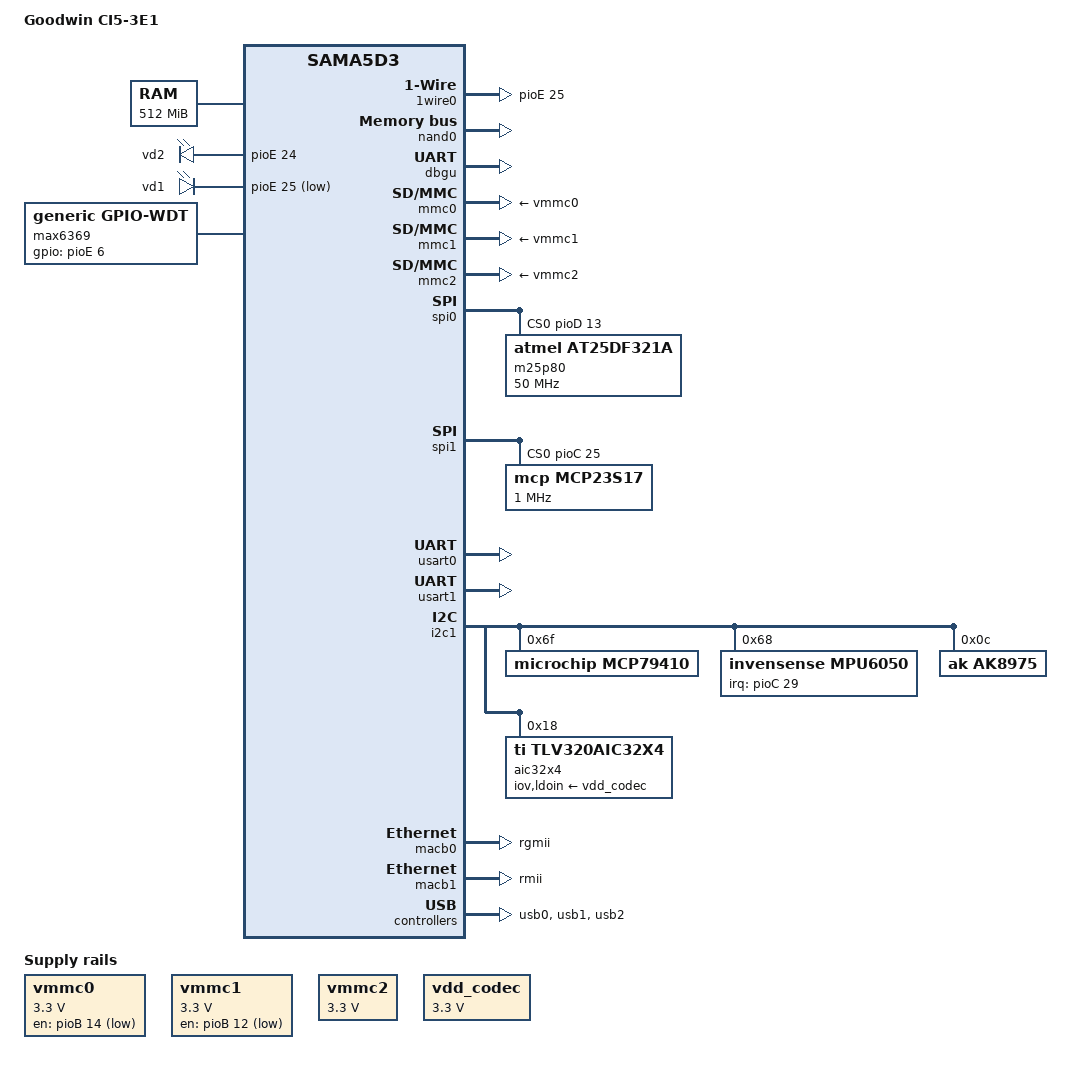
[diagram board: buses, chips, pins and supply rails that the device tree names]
/*
 * goodwin-ci5-3e1.dts - Device Tree file for Goodwin CI5-3E1 board
 *
 *  Copyright (C) 2013 Atmel,
 *                2013 Ludovic Desroches <ludovic.desroches@atmel.com>
 *
 * Licensed under GPLv2 or later.
 */
/dts-v1/;
#include "sama5d35.dtsi"

/ {
	model = "Goodwin CI5-3E1";
	compatible = "atmel,sama5d35ek", "atmel,sama5d3xmb", "atmel,sama5d3xcm", "atmel,sama5d3", "atmel,sama5";

	memory {
		reg = <0x20000000 0x20000000>;
	};

	slow_xtal {
		clock-frequency = <32768>;
	};

	main_xtal {
		clock-frequency = <12000000>;
	};

	leds {
		compatible = "gpio-leds";

		pe24 {
			label = "vd2";
			gpios = <&pioE 24 0>;
		};

		pe25 {
			label = "vd1"; /* conflicts with 1wire */
			gpios = <&pioE 25 1>;
			linux,default-trigger = "heartbeat";
		};

	};

	max6369 {
		/* WDT can be disabled by setting switch 1:4 to off */
		compatible = "generic,gpio-wdt";
		gpios = <&pioE 6 0>;
		ping-sec = <5>;
		timeout-sec = <60>;
	};

	1wire0 {
		compatible = "w1-gpio";
		gpios = <&pioE 25 GPIO_ACTIVE_HIGH>; /* conflicts with led VD1 */
		linux,open-drain;
		pinctrl-names = "default";
		pinctrl-0 = <&pinctrl_1wire0>;
		status = "okay";
	};

	regulators {
	    compatible = "simple-bus";
	    #address-cells = <1>;
	    #size-cells = <0>;
	    vmmc0: vmmc0-reg@0 {
		    compatible = "regulator-fixed";
		    reg = <0>;
		    regulator-name = "vmmc0";
		    regulator-min-microvolt = <3300000>;
		    regulator-max-microvolt = <3300000>;
		    gpio = <&pioB 14 0>;
		    regulator-boot-on;
		    status = "okay";
	    };

	    vmmc1: vmmc1-reg@1 {
		    compatible = "regulator-fixed";
		    reg = <1>;
		    regulator-name = "vmmc1";
		    regulator-min-microvolt = <3300000>;
		    regulator-max-microvolt = <3300000>;
		    gpio = <&pioB 12 0>;
		    regulator-boot-on;
		    status = "okay";
	    };

	    vmmc2: vmmc2-reg@2 {
		    compatible = "regulator-fixed";
		    reg = <2>;
		    regulator-name = "vmmc2";
		    regulator-min-microvolt = <3300000>;
		    regulator-max-microvolt = <3300000>;
		    regulator-boot-on;
		    status = "okay";
	    };

	    vdd_codec: vdd_codec-reg@3 {
		    compatible = "regulator-fixed";
		    reg = <2>;
		    regulator-name = "vdd_codec";
		    regulator-min-microvolt = <3300000>;
		    regulator-max-microvolt = <3300000>;
		    regulator-boot-on;
		    status = "okay";
	    };

	    /* Commented out for now as there are no kernel drivers that need those
	       regulators, and they are too difficult to access from userspace.
	    vdd_5v0: regulator@10 {
		    compatible = "regulator-fixed";
		    reg = <10>;
		    regulator-name = "vdd_5v0";
		    regulator-min-microvolt = <5000000>;
		    regulator-max-microvolt = <5000000>;
		    gpio = <&pioE 8 0>;
		    enable-active-high;

		    status = "okay";
	    };

	    vdd_3v7: regulator@11 {
		    compatible = "regulator-fixed";
		    reg = <11>;
		    regulator-name = "vdd_3v7";
		    regulator-min-microvolt = <5000000>;
		    regulator-max-microvolt = <5000000>;
		    gpio = <&pioE 10 0>;
		    enable-active-high;

		    status = "okay";
	    };
	    */
	};

	ahb {
		nand0: nand@60000000 {
			nand-bus-width = <8>;
			nand-ecc-mode = "hw";
			atmel,has-pmecc;
			atmel,pmecc-cap = <4>;
			atmel,pmecc-sector-size = <512>;
			status = "ok";
		};

		apb {
			dbgu: serial@ffffee00 {
				status = "okay";
			};


			/* internal MMC */
			mmc0: mmc@f0000000 {
				status = "okay";
				vmmc-supply = <&vmmc0>;
				slot@0 {
					reg = <0>;
					bus-width = <8>;
				};
			};

			/* external slot */
			mmc1: mmc@f8000000 {
				status = "okay";
				vmmc-supply = <&vmmc1>;
				slot@0 {
					reg = <0>;
					bus-width = <4>;
				};
			};

			/* ath6kl */
			mmc2: mmc@f8004000 {
				status = "okay";
				vmmc-supply = <&vmmc2>;
				slot@0 {
					reg = <0>;
					bus-width = <4>;
				};
			};

			ssc0: ssc@f0008000 {
				atmel,clk-from-rk-pin;
				status = "ok";
			};

			spi0: spi@f0004000 {
				cs-gpios = <&pioD 13 0>;
				status = "okay";

				m25p80@0 {
					/* Close switch 1:2 to enable */
					compatible = "atmel,at25df321a";
					spi-max-frequency = <50000000>;
					reg = <0>;
				};
			};

			spi1: spi@f8008000 {
				cs-gpios = <&pioC 25 0>;
				status = "okay";

				mcp23s17@0 {
					compatible = "mcp,mcp23s17";
					gpio-controller;
					#gpio-cells = <2>;
					mcp,spi-present-mask = <0x01>;
					reg = <0>;
					spi-max-frequency = <1000000>;
					status = "okay";
				};
			};

			/* Telit UL865 */
			usart0: serial@f001c000 {
				status = "okay";
			};

			/* AMBE codec */
			usart1: serial@f0020000 {
				pinctrl-0 = <&pinctrl_usart1 &pinctrl_usart1_cts>;
				status = "okay";
			};

			i2c1: i2c@f0018000 {
				status = "okay";

				mcp79410: rtc@6f {
					compatible = "microchip,mcp79410";
					reg = <0x6f>;
					status = "okay";
				};

				mpu6050: mpu6050@d0 {
					compatible = "invensense,mpu6050";
					reg = <0x68>;

					interrupt-parent = <&pioC>;
					interrupts = <29 0x0>;

					orientation = <1 0 0
						       0 1 0
						       0 0 1>;
					i2c-bypass;
					status = "okay";
				};
				
				ak8975: ak8975@0c {
					compatible = "ak,ak8975";
					reg = <0xc>;
					/* interrupt-parent = <&gpio>;
					interrupts = <109 0x04>; */
					status = "okay";
				};

				aic32x4: aic32x4@18 {
				        compatible = "ti,tlv320aic32x4";
					reg = <0x18>;
					clocks = <&pck0>; /* pck0 */
					clock-names = "mclk";
					iov-supply = <&vdd_codec>;
					ldoin-supply = <&vdd_codec>;
					/* dv-supply = <&vdd_codec_core>;
					av-supply = <&vdd_codec_core>; */
				};
			};

			macb0: ethernet@f0028000 {
				phy-mode = "rgmii";
				status = "okay";
			};

			macb1: ethernet@f802c000 {
				phy-mode = "rmii";
				status = "okay";
			};

			pinctrl@fffff200 {
				board {
					pinctrl_1wire0: 1wire0-0 {
						atmel,pins = <AT91_PIOE 25 AT91_PERIPH_GPIO AT91_PINCTRL_MULTI_DRIVE>;
					};

					pinctrl_usba_vbus: usba_vbus {
						atmel,pins =
							<AT91_PIOD 29 AT91_PERIPH_GPIO AT91_PINCTRL_DEGLITCH>; /* PD29 GPIO with deglitch */
					};

					pinctrl_pck0_as_audio_mck: pck0_as_audio_mck {
						atmel,pins =
							<AT91_PIOD 30 AT91_PERIPH_B AT91_PINCTRL_NONE>;	/* PD30 periph B */
					};
				};
				usart1 {
					pinctrl_usart1_cts: usart1_cts-0 {
						atmel,pins =
							<AT91_PIOB 26 AT91_PERIPH_A AT91_PINCTRL_NONE>;
					};
				};
			};
		};

		usb0: gadget@00500000 {
			atmel,vbus-gpio = <&pioD 25 GPIO_ACTIVE_LOW>;
			pinctrl-names = "default";
			pinctrl-0 = <&pinctrl_usba_vbus>;
			status = "okay";
		};

		usb1: ohci@00600000 {
			num-ports = <3>;
			*atmel,vbus-gpio = <&pioD 26 GPIO_ACTIVE_LOW
					    &pioD 27 GPIO_ACTIVE_LOW>;
			status = "okay";
		};

		usb2: ehci@00700000 {
			status = "okay";
		};

	};

	sound {
		compatible = "atmel,sama5d3-aic32x4";
		pinctrl-names = "default";
		pinctrl-0 = <&pinctrl_pck0_as_audio_mck>;

		atmel,model = "AIC32x4 @ SAMA5D3";
		atmel,audio-routing =
		    "IN1_R", "Mic Bias",
		    "IN2_R", "Mic Bias",
		    "IN1_L", "Mic Bias",
		    "IN2_L", "Mic Bias";

		atmel,ssc-controller = <&ssc0>;
		atmel,audio-codec = <&aic32x4>;

		clocks = <&prog0 &pck0 &main>;
		clock-names = "prog", "pck", "main";

		status = "ok";
	};
};
